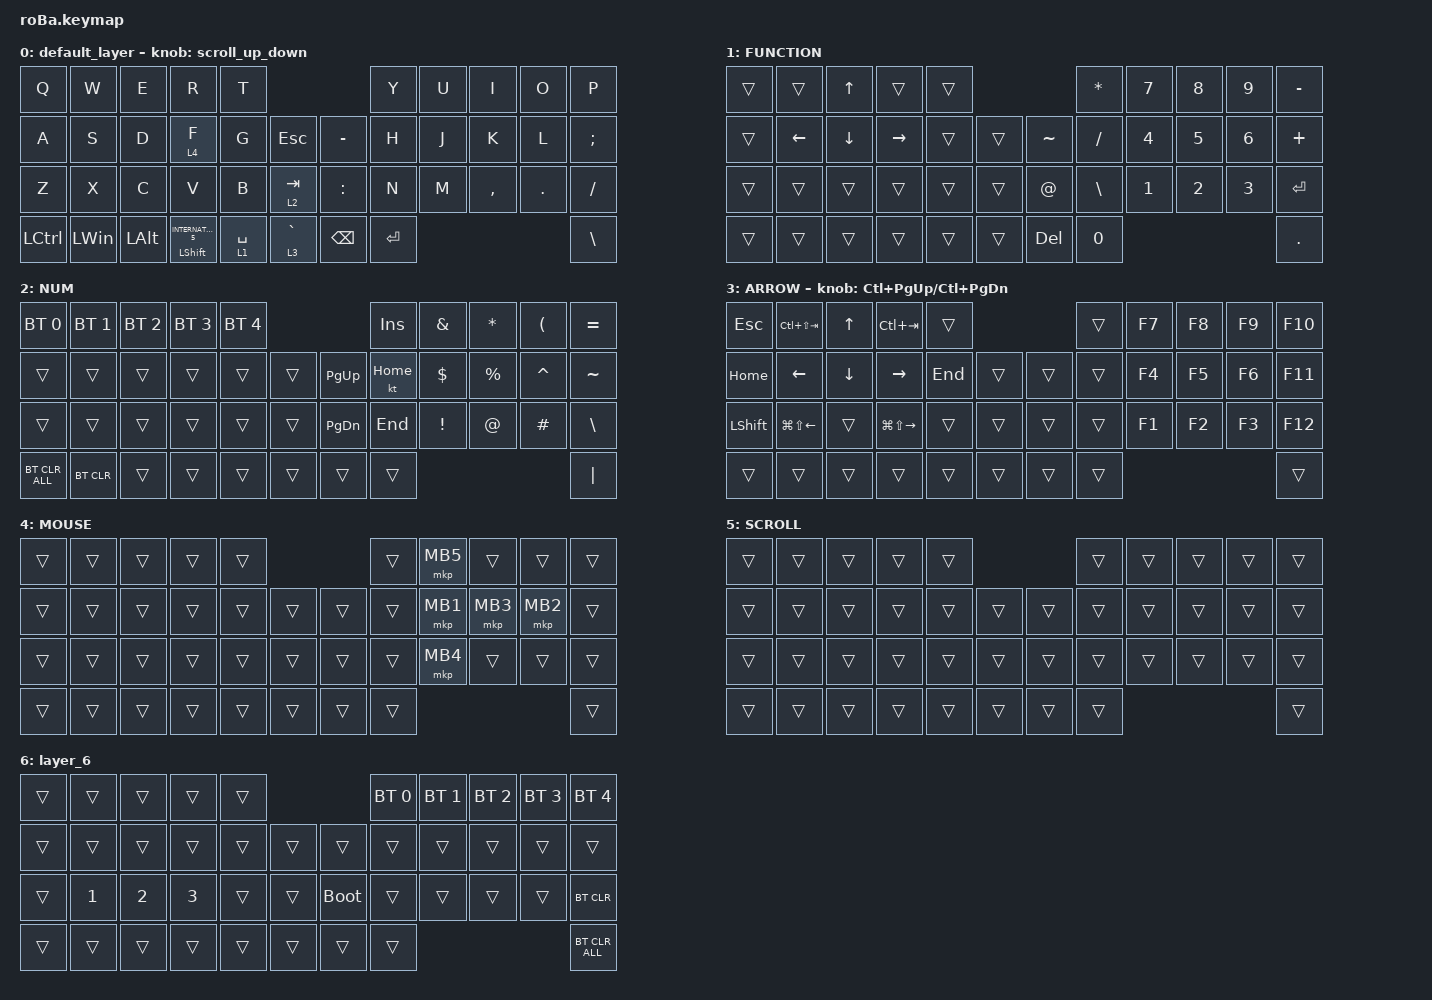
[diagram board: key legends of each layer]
#include <behaviors.dtsi>
#include <dt-bindings/zmk/bt.h>
#include <dt-bindings/zmk/keys.h>
#include <dt-bindings/zmk/pointing.h>

#define ZMK_POINTING_DEFAULT_SCRL_VAL 100

&mt {
    flavor = "balanced";
    quick-tap-ms = <0>;
};

&trackball {
    // automouse-layer = <4>;

    scroll-layers = <5>;

    // arrows {
    //     layers = <3>;
    //     bindings =
    //         <&kp RIGHT_ARROW>,
    //         <&kp LEFT_ARROW>,
    //         <&kp UP_ARROW>,
    //         <&kp DOWN_ARROW>;
    //     tick = <10>;
    //     wait-ms = <5>;
    //     tap-ms = <5>;
    // };
};

/ {
    combos {
        compatible = "zmk,combos";

        tab {
            bindings = <&kp TAB>;
            key-positions = <11 12>;
        };

        shift_tab {
            bindings = <&kp LS(TAB)>;
            key-positions = <12 13>;
        };

        muhennkann {
            bindings = <&to_layer_0 INT_MUHENKAN>;
            key-positions = <11 10>;
        };

        double_quotation {
            bindings = <&kp DOUBLE_QUOTES>;
            key-positions = <20 21>;
        };

        eq {
            bindings = <&kp EQUAL>;
            key-positions = <24 25>;
        };
    };

    macros {
        to_layer_0: to_layer_0 {
            compatible = "zmk,behavior-macro-one-param";
            #binding-cells = <1>;
            bindings = <&to 1 &macro_param_1to1 &kp MACRO_PLACEHOLDER>;
            label = "TO_LAYER_0";
        };
    };

    behaviors {
        scroll_up_down: behavior_sensor_rotate_mouse_wheel_up_down {
            compatible = "zmk,behavior-sensor-rotate";
            #sensor-binding-cells = <0>;
            bindings = <&msc SCRL_DOWN>, <&msc SCRL_UP>;

            // 追加: スクロールのタップ時間を設定 (20ms)

            tap-ms = <20>;
        };

        lt_to_layer_0: lt_to_layer_0 {
            compatible = "zmk,behavior-hold-tap";
            label = "LAYER_TAP_TO_0";
            bindings = <&mo>, <&to_layer_0>;

            #binding-cells = <2>;
            tapping-term-ms = <200>;
        };

        encoder_msc_down_up: encoder_msc_down_up {
            compatible = "zmk,behavior-sensor-rotate";
            label = "ENCODER_MSC_DOWN_UP";
            #sensor-binding-cells = <0>;
            bindings = <&msc SCRL_DOWN>, <&msc SCRL_UP>;

            tap-ms = <20>;
        };
    };

    keymap {
        compatible = "zmk,keymap";

        default_layer {
            bindings = <
&kp Q      &kp W         &kp E         &kp R                           &kp T                                        &kp Y      &kp U  &kp I      &kp O    &kp P
&kp A      &kp S         &kp D         &lt 4 F                         &kp G        &kp ESCAPE       &kp MINUS      &kp H      &kp J  &kp K      &kp L    &kp SEMICOLON
&kp Z      &kp X         &kp C         &kp V                           &kp B        &lt 2 TAB        &kp COLON      &kp N      &kp M  &kp COMMA  &kp DOT  &kp SLASH
&kp LCTRL  &kp LEFT_WIN  &kp LEFT_ALT  &mt LEFT_SHIFT INTERNATIONAL_5  &lt 1 SPACE  &lt 3 GRAVE      &kp BACKSPACE  &kp ENTER                             &kp BACKSLASH
            >;

            sensor-bindings = <&scroll_up_down>;
        };

        FUNCTION {
            bindings = <
&trans  &trans          &kp UP_ARROW    &trans           &trans                           &kp ASTERISK   &kp N7  &kp N8        &kp N9  &kp MINUS
&trans  &kp LEFT_ARROW  &kp DOWN_ARROW  &kp RIGHT_ARROW  &trans  &trans      &kp TILDE    &kp SLASH      &kp N4  &kp NUMBER_5  &kp N6  &kp PLUS
&trans  &trans          &trans          &trans           &trans  &trans      &kp AT_SIGN  &kp BACKSLASH  &kp N1  &kp N2        &kp N3  &kp ENTER
&trans  &trans          &trans          &trans           &trans  &trans      &kp DEL      &kp N0                                       &kp PERIOD
            >;
        };

        NUM {
            bindings = <
&bt BT_SEL 0    &bt BT_SEL 1  &bt BT_SEL 2  &bt BT_SEL 3  &bt BT_SEL 4                         &kp INS   &kp AMPERSAND    &kp ASTERISK  &kp LEFT_PARENTHESIS  &kp EQUAL
&trans          &trans        &trans        &trans        &trans        &trans      &kp PG_UP  &kt HOME  &kp DOLLAR       &kp PERCENT   &kp CARET             &kp TILDE
&trans          &trans        &trans        &trans        &trans        &trans      &kp PG_DN  &kp END   &kp EXCLAMATION  &kp AT        &kp HASH              &kp BACKSLASH
&bt BT_CLR_ALL  &bt BT_CLR    &trans        &trans        &trans        &trans      &trans     &trans                                                         &kp PIPE
            >;
        };

        ARROW {
            bindings = <
&kp ESCAPE      &kp LC(LS(TAB))         &kp UP_ARROW    &kp LC(TAB)              &trans                       &trans  &kp F7  &kp F8  &kp F9  &kp F10
&kp HOME        &kp LEFT_ARROW          &kp DOWN_ARROW  &kp RIGHT_ARROW          &kp END  &trans      &trans  &trans  &kp F4  &kp F5  &kp F6  &kp F11
&kp LEFT_SHIFT  &kp LG(LS(LEFT_ARROW))  &trans          &kp LG(LS(RIGHT_ARROW))  &trans   &trans      &trans  &trans  &kp F1  &kp F2  &kp F3  &kp F12
&trans          &trans                  &trans          &trans                   &trans   &trans      &trans  &trans                          &trans
            >;

            sensor-bindings = <&inc_dec_kp LC(PAGE_UP) LC(PAGE_DOWN)>;
        };

        MOUSE {
            bindings = <
&trans  &trans  &trans  &trans  &trans                      &trans  &mkp MB5  &trans    &trans    &trans
&trans  &trans  &trans  &trans  &trans  &trans      &trans  &trans  &mkp MB1  &mkp MB3  &mkp MB2  &trans
&trans  &trans  &trans  &trans  &trans  &trans      &trans  &trans  &mkp MB4  &trans    &trans    &trans
&trans  &trans  &trans  &trans  &trans  &trans      &trans  &trans                                &trans
            >;
        };

        SCROLL {
            bindings = <
&trans  &trans  &trans  &trans  &trans                      &trans  &trans  &trans  &trans  &trans
&trans  &trans  &trans  &trans  &trans  &trans      &trans  &trans  &trans  &trans  &trans  &trans
&trans  &trans  &trans  &trans  &trans  &trans      &trans  &trans  &trans  &trans  &trans  &trans
&trans  &trans  &trans  &trans  &trans  &trans      &trans  &trans                          &trans
            >;
        };

        layer_6 {
            bindings = <
&trans  &trans        &trans        &trans        &trans                           &bt BT_SEL 0  &bt BT_SEL 1  &bt BT_SEL 2  &bt BT_SEL 3  &bt BT_SEL 4
&trans  &trans        &trans        &trans        &trans  &trans      &trans       &trans        &trans        &trans        &trans        &trans
&trans  &kp NUMBER_1  &kp NUMBER_2  &kp NUMBER_3  &trans  &trans      &bootloader  &trans        &trans        &trans        &trans        &bt BT_CLR
&trans  &trans        &trans        &trans        &trans  &trans      &trans       &trans                                                  &bt BT_CLR_ALL
            >;
        };
    };
};
